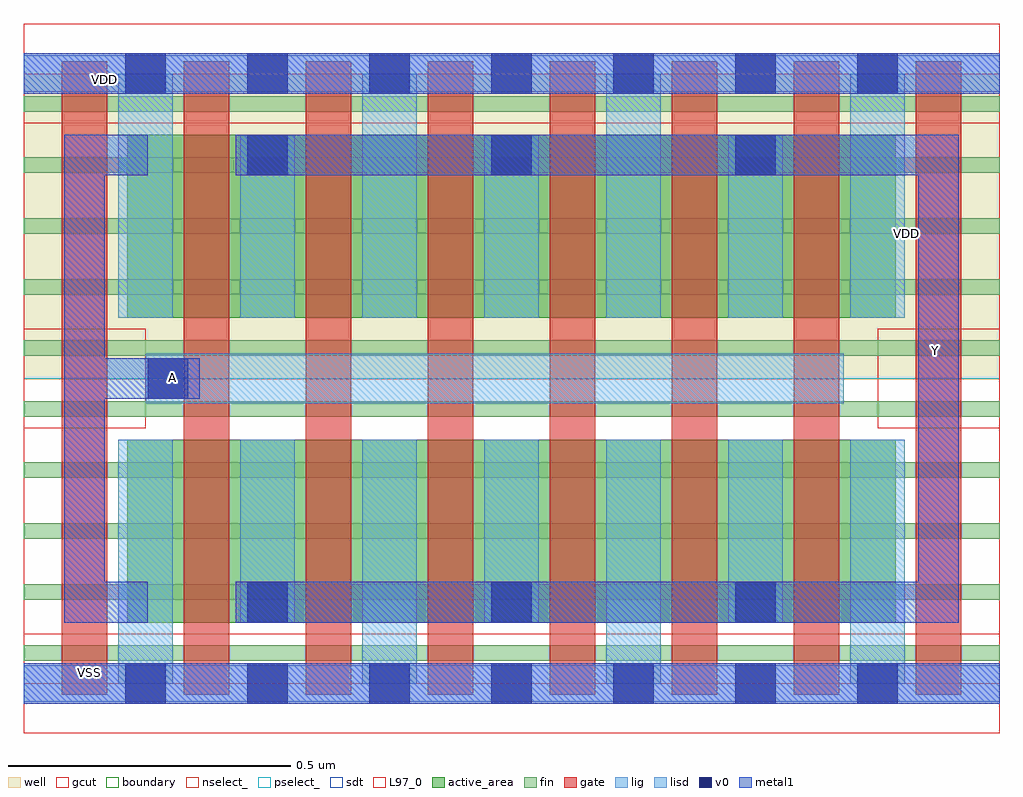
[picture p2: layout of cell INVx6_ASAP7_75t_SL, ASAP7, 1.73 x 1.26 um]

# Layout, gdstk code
import gdstk
lib = gdstk.Library(unit=1e-6, precision=2.5e-10)
def R(c, l, rs):  # rectangles x0, y0, x1, y1
    for r in rs: c.add(gdstk.rectangle(r[:2], r[2:], *l))
def A(c, l, x, y, w, h, nx, ny, dx, dy):  # array of equal rectangles
    R(c, l, [(x+i*dx, y+j*dy, x+i*dx+w, y+j*dy+h) for i in range(nx) for j in range(ny)])
def P(c, l, *ps):  # polygons
    for p in ps: c.add(gdstk.Polygon(p, *l))
well = (1, 0)
fin = (2, 0)
gate = (7, 0)
gcut = (10, 0)
active_area = (11, 0)
nselect_ = (12, 0)
pselect_ = (13, 0)
lig = (16, 0)
lisd = (17, 0)
v0 = (18, 0)
metal1 = (19, 0)
sdt = (88, 0)
L97_0 = (97, 0)
boundary = (100, 0)

invx6_asap7_75t_sl = lib.new_cell('INVx6_ASAP7_75t_SL')
R(invx6_asap7_75t_sl, well, [(0,0.54,1.728,1.08)])
A(invx6_asap7_75t_sl, fin, 0, 0.04, 1.728, 0.028, 1, 10, 0, 0.108)
A(invx6_asap7_75t_sl, gate, 0.068, -0.02, 0.08, 1.122, 8, 1, 0.216, 0)
R(invx6_asap7_75t_sl, gcut, [(0,-0.088,1.728,0.088), (0,0.452,0.216,0.628), (1.512,0.452,1.728,0.628), (0,0.992,1.728,1.168)])
R(invx6_asap7_75t_sl, active_area, [(0.184,0.108,1.544,0.432), (0.184,0.648,1.544,0.972)])
R(invx6_asap7_75t_sl, nselect_, [(0,0,1.728,0.54)])
R(invx6_asap7_75t_sl, pselect_, [(0,0.54,1.728,1.08)])
R(invx6_asap7_75t_sl, lig, [(0,-0.032,1.728,0.032), (0.216,0.496,1.452,0.584), (0,1.048,1.728,1.112)])
A(invx6_asap7_75t_sl, lisd, 0.168, 0, 0.096, 0.432, 4, 2, 0.432, 0.648)
A(invx6_asap7_75t_sl, lisd, 0.384, 0.108, 0.096, 0.324, 3, 2, 0.432, 0.54)
A(invx6_asap7_75t_sl, v0, 0.18, -0.036, 0.072, 0.072, 7, 2, 0.216, 1.08)
A(invx6_asap7_75t_sl, v0, 0.396, 0.108, 0.072, 0.072, 3, 2, 0.432, 0.792)
R(invx6_asap7_75t_sl, v0, [(0.22,0.504,0.292,0.576)])
R(invx6_asap7_75t_sl, metal1, [(0,-0.036,1.728,0.036), (0,1.044,1.728,1.116)])
P(invx6_asap7_75t_sl, metal1, [(0.312,0.576),(0.144,0.576),(0.144,0.9),(0.22,0.9),(0.22,0.972),(0.072,0.972),(0.072,0.108),(0.22,0.108),(0.22,0.18),(0.144,0.18),(0.144,0.504),(0.312,0.504)],
  [(1.656,0.972),(0.376,0.972),(0.376,0.9),(1.584,0.9),(1.584,0.18),(0.376,0.18),(0.376,0.108),(1.656,0.108)])
A(invx6_asap7_75t_sl, sdt, 0.168, 0.108, 0.096, 0.324, 7, 2, 0.216, 0.54)
R(invx6_asap7_75t_sl, L97_0, [(0,0,1.728,1.08)])
R(invx6_asap7_75t_sl, boundary, [(0,0,1.728,1.08)])
invx6_asap7_75t_sl.add(gdstk.Label('VSS', (0.116,0.02), layer=19, texttype=251))
invx6_asap7_75t_sl.add(gdstk.Label('VDD', (0.144,1.07), layer=19, texttype=251))
invx6_asap7_75t_sl.add(gdstk.Label('A', (0.264,0.542), layer=19, texttype=251))
invx6_asap7_75t_sl.add(gdstk.Label('Y', (1.614,0.59), layer=19, texttype=251))
invx6_asap7_75t_sl.add(gdstk.Label('VDD', (1.564,0.796), layer=1, texttype=251))
invx6_asap7_75t_sl.add(gdstk.Label('VSS', (1.84,0.792), layer=3, texttype=251))

lib.write_gds('INVx6_ASAP7_75t_SL.gds')
